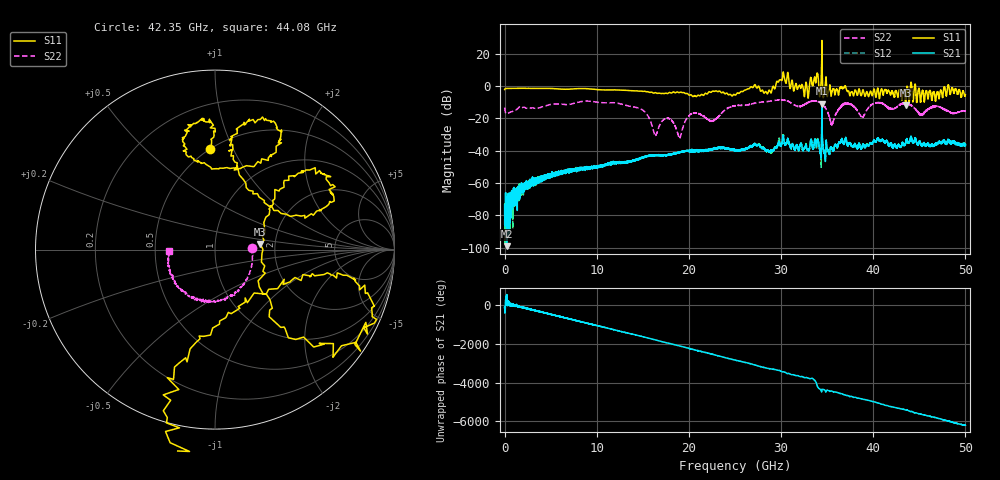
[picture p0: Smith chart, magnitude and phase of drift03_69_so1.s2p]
!Created with skrf (http://scikit-rf.org).
# Hz S RI R 50.0
!freq ReS11 ImS11 ReS21 ImS21 ReS12 ImS12 ReS22 ImS22
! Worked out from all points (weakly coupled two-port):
!   10000 points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, 5.3 MHz to 50 GHz, reference 50 ohm
!   highest |S21| = -10.77 dB at 34.43 GHz (marker M1); lowest = -99.2 dB at 230.3 MHz (marker M2)
!   lowest |S11| = -11.9 dB at 43.52 GHz (marker M3), VSWR 1.68, Z = 83.5 + j5.47 ohm
!   |S11| at or under -10 dB: 43.48387 GHz to 43.55397 GHz (70.09 MHz wide, 0.161 % of centre); 44.70789 GHz to 44.71078 GHz (2.881 MHz wide, 0.00644 % of centre)
!   |S22| runs from -32.3 to -8.4 dB; largest |S21 - S12| = 0.088
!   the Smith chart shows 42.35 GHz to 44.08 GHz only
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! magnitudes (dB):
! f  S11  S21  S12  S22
! 5.3 MHz  -2.1  -73.8  -86.0  -13.3
! 230.3 MHz  -1.4  -99.2  -74.3  -17.0
! 3.04 GHz  -1.4  -58.7  -59.5  -13.4
! 8.34 GHz  -1.5  -51.2  -51.4  -9.5
! 14.59 GHz  -3.1  -44.8  -45.1  -13.6
! 16.67 GHz  -4.4  -42.8  -42.7  -26.4
! 17.8 GHz  -4.2  -42.3  -42.3  -20.0
! 19 GHz  -3.9  -41.1  -40.9  -32.2
! 20.32 GHz  -5.8  -40.3  -40.1  -17.0
! 22.53 GHz  -3.3  -39.0  -38.9  -21.5
! 25.01 GHz  -5.5  -39.9  -39.8  -12.1
! 30.14 GHz  4.4  -34.0  -33.9  -8.5
! 33.34 GHz  2.6  -34.5  -35.2  -9.3
! 34.43 GHz  28.3  -10.8  -12.8  -10.8
! 35.52 GHz  -3.7  -38.6  -38.8  -23.8
! 36.98 GHz  0.1  -32.7  -32.7  -10.8
! 38.79 GHz  -4.5  -37.7  -37.7  -19.2
! 40.17 GHz  -3.2  -34.3  -34.3  -10.5
! 41.67 GHz  -2.8  -36.7  -36.5  -13.7
! 43.52 GHz  -11.9  -35.0  -35.3  -10.8
! 45.2 GHz  -7.2  -36.1  -36.6  -18.2
! 50 GHz  -5.3  -36.7  -36.5  -15.6
